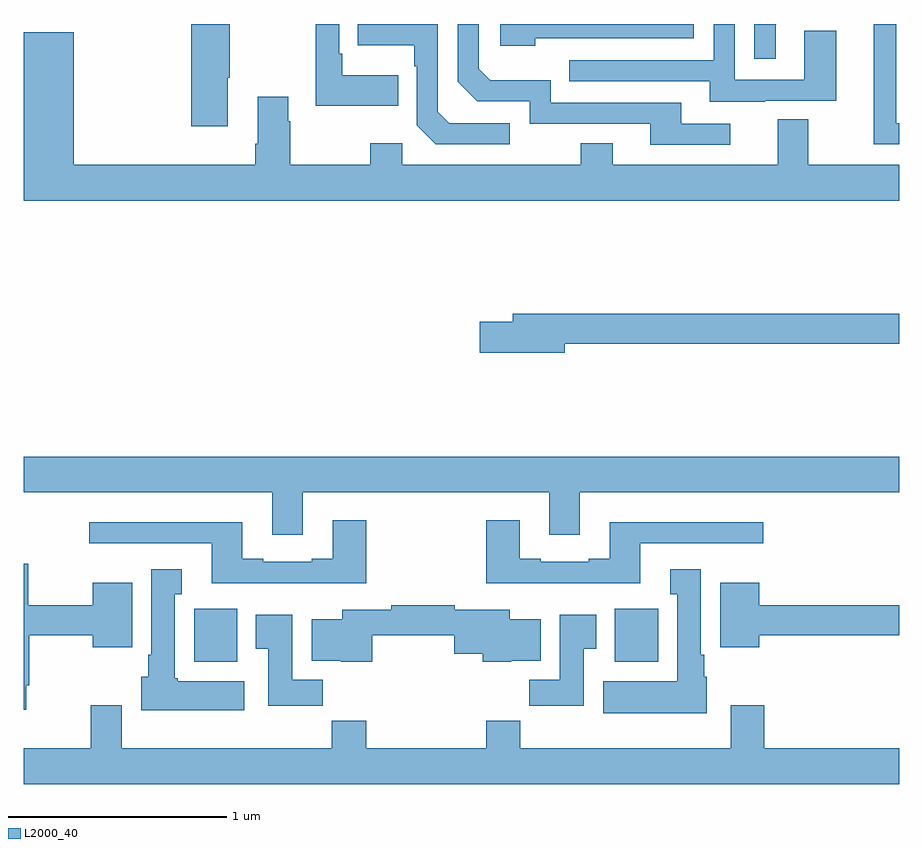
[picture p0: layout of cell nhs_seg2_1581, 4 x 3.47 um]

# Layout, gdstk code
import gdstk
lib = gdstk.Library(unit=1e-6, precision=1e-09)
def R(c, l, rs):  # rectangles x0, y0, x1, y1
    for r in rs: c.add(gdstk.rectangle(r[:2], r[2:], *l))
def P(c, l, *ps):  # polygons
    for p in ps: c.add(gdstk.Polygon(p, *l))
L2000_40 = (2000, 40)

nhs_seg2_1581 = lib.new_cell('nhs_seg2_1581')
R(nhs_seg2_1581, L2000_40, [(193.778,622.886,193.975,623.128), (195.701,622.886,195.898,623.128)])
P(nhs_seg2_1581, L2000_40, [(196.387,625.449),(196.711,625.449),(196.711,625.769),(196.566,625.769),(196.566,625.545),(196.248,625.545),(196.248,625.8),(196.152,625.8),(196.152,625.635),(195.493,625.635),(195.493,625.539),(196.133,625.539),(196.133,625.445),(196.387,625.445)],
  [(196.228,625.344),(196.003,625.344),(196.003,625.44),(195.408,625.44),(195.408,625.543),(195.131,625.543),(195.078,625.596),(195.078,625.8),(194.982,625.8),(194.982,625.536),(195.072,625.446),(195.312,625.446),(195.312,625.344),(195.863,625.344),(195.863,625.248),(196.228,625.248)],
  [(195.338,625.734),(196.062,625.734),(196.062,625.8),(195.177,625.8),(195.177,625.7),(195.338,625.7)],
  [(194.711,625.567),(194.455,625.567),(194.455,625.663),(194.442,625.663),(194.442,625.8),(194.334,625.8),(194.334,625.427),(194.711,625.427)],
  [(196.435,625.797),(196.438,625.8),(196.338,625.8),(196.338,625.641),(196.435,625.641)],
  [(197,625.347),(196.987,625.347),(196.987,625.8),(196.883,625.8),(196.883,625.251),(197,625.251)],
  [(193.933,625.555),(193.941,625.555),(193.941,625.8),(193.766,625.8),(193.766,625.332),(193.933,625.332)],
  [(195.22,625.347),(194.943,625.347),(194.892,625.398),(194.892,625.8),(194.527,625.8),(194.527,625.703),(194.784,625.703),(194.784,625.607),(194.796,625.607),(194.796,625.338),(194.883,625.251),(195.22,625.251)],
  [(197,625.156),(196.585,625.156),(196.585,625.364),(196.445,625.364),(196.445,625.156),(195.691,625.156),(195.691,625.255),(195.544,625.255),(195.544,625.156),(194.73,625.156),(194.73,625.255),(194.584,625.255),(194.584,625.156),(194.217,625.156),(194.217,625.355),(194.209,625.355),(194.209,625.468),(194.069,625.468),(194.069,625.252),(194.057,625.252),(194.057,625.156),(193.228,625.156),(193.228,625.762),(193,625.762),(193,624.992),(197,624.992)],
  [(195.472,624.34),(197,624.34),(197,624.476),(195.233,624.476),(195.233,624.44),(195.084,624.44),(195.084,624.298),(195.472,624.298)],
  [(194.275,623.66),(195.401,623.66),(195.401,623.466),(195.541,623.466),(195.541,623.66),(197,623.66),(197,623.824),(193,623.824),(193,623.66),(194.135,623.66),(194.135,623.466),(194.275,623.466)],
  [(194.564,623.533),(194.411,623.533),(194.411,623.356),(194.315,623.356),(194.315,623.343),(194.095,623.343),(194.095,623.356),(193.999,623.356),(193.999,623.524),(193.299,623.524),(193.299,623.427),(193.859,623.427),(193.859,623.246),(194.564,623.246)],
  [(195.817,623.427),(196.378,623.427),(196.378,623.524),(195.677,623.524),(195.677,623.356),(195.581,623.356),(195.581,623.343),(195.361,623.343),(195.361,623.356),(195.265,623.356),(195.265,623.533),(195.113,623.533),(195.113,623.246),(195.817,623.246)],
  [(193.012,622.78),(193.025,622.78),(193.025,623.008),(193.316,623.008),(193.316,622.952),(193.495,622.952),(193.495,623.248),(193.316,623.248),(193.316,623.144),(193.02,623.144),(193.02,623.335),(193,623.335),(193,622.668),(193.012,622.668)],
  [(194.008,622.798),(193.704,622.798),(193.704,622.812),(193.69,622.812),(193.69,623.195),(193.723,623.195),(193.723,623.308),(193.583,623.308),(193.583,622.918),(193.568,622.918),(193.568,622.818),(193.538,622.818),(193.538,622.664),(194.008,622.664)],
  [(196.12,622.818),(196.108,622.818),(196.108,622.918),(196.093,622.918),(196.093,623.308),(195.953,623.308),(195.953,623.195),(195.986,623.195),(195.986,622.798),(195.647,622.798),(195.647,622.652),(196.12,622.652)],
  [(196.36,623.008),(197,623.008),(197,623.144),(196.36,623.144),(196.36,623.248),(196.181,623.248),(196.181,622.952),(196.36,622.952)],
  [(194.592,623.008),(194.966,623.008),(194.966,622.922),(195.098,622.922),(195.098,622.886),(195.228,622.886),(195.228,622.892),(195.361,622.892),(195.361,623.08),(195.22,623.08),(195.22,623.124),(194.97,623.124),(194.97,623.144),(194.68,623.144),(194.68,623.124),(194.456,623.124),(194.456,623.08),(194.315,623.08),(194.315,622.892),(194.448,622.892),(194.448,622.886),(194.592,622.886)],
  [(194.366,622.804),(194.227,622.804),(194.227,623.101),(194.06,623.101),(194.06,622.945),(194.117,622.945),(194.117,622.686),(194.366,622.686)],
  [(195.559,622.945),(195.616,622.945),(195.616,623.101),(195.449,623.101),(195.449,622.804),(195.31,622.804),(195.31,622.686),(195.559,622.686)],
  [(197,622.492),(196.382,622.492),(196.382,622.687),(196.229,622.687),(196.229,622.492),(195.269,622.492),(195.269,622.616),(195.113,622.616),(195.113,622.492),(194.564,622.492),(194.564,622.616),(194.407,622.616),(194.407,622.492),(193.447,622.492),(193.447,622.687),(193.307,622.687),(193.307,622.492),(193,622.492),(193,622.328),(197,622.328)])

lib.write_gds('nhs_seg2_1581.gds')
